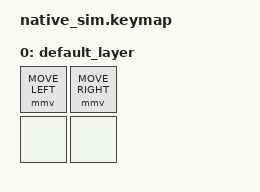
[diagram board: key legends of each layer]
#include <behaviors.dtsi>
#include <behaviors/mouse_move.dtsi>
#include <dt-bindings/zmk/keys.h>
#include <dt-bindings/zmk/input_mock.h>
#include <dt-bindings/zmk/pointing.h>

/ {
    keymap {
        compatible = "zmk,keymap";
        label ="Default keymap";

        default_layer {
            bindings = <
                &mmv MOVE_LEFT &mmv MOVE_RIGHT
                &none &none
            >;
        };
    };
};


&mock_input {
    events = <
        ZMK_INPUT_MOCK_PRESS(0,0,100)
        ZMK_INPUT_MOCK_RELEASE(0,0,10)
        ZMK_INPUT_MOCK_PRESS(0,1,100)
        ZMK_INPUT_MOCK_RELEASE(0,1,10)
    >;
};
